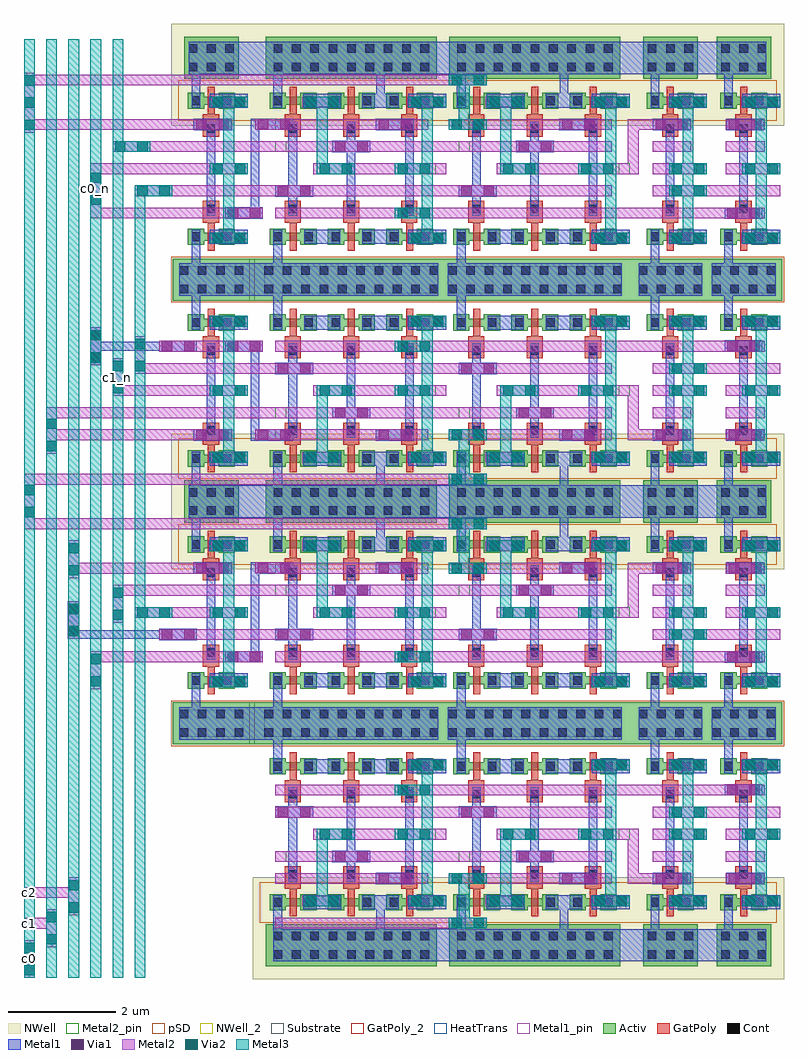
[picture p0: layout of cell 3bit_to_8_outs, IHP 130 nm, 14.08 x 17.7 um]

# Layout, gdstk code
from math import pi, radians
import gdstk
lib = gdstk.Library(unit=1e-6, precision=1e-09)
def R(c, l, rs):  # rectangles x0, y0, x1, y1
    for r in rs: c.add(gdstk.rectangle(r[:2], r[2:], *l))
def A(c, l, x, y, w, h, nx, ny, dx, dy):  # array of equal rectangles
    R(c, l, [(x+i*dx, y+j*dy, x+i*dx+w, y+j*dy+h) for i in range(nx) for j in range(ny)])
Activ = (1, 0)
GatPoly = (5, 0)
GatPoly_2 = (5, 2)
Cont = (6, 0)
Metal1 = (8, 0)
Metal1_pin = (8, 2)
Metal2 = (10, 0)
Metal2_pin = (10, 2)
pSD = (14, 0)
Via1 = (19, 0)
Via2 = (29, 0)
Metal3 = (30, 0)
NWell = (31, 0)
NWell_2 = (31, 2)
Substrate = (40, 0)
HeatTrans = (51, 0)

via_15 = lib.new_cell('Via$15')
R(via_15, Metal2, [(-0.35,-0.1,0.35,0.1)])
R(via_15, Via2, [(-0.3,-0.095,-0.11,0.095), (0.11,-0.095,0.3,0.095)])
R(via_15, Metal3, [(-0.35,-0.1,0.35,0.1)])

via_12 = lib.new_cell('Via$12')
R(via_12, Metal1, [(-0.35,-0.105,0.35,0.105)])
R(via_12, Metal2, [(-0.35,-0.1,0.35,0.1)])
R(via_12, Via1, [(-0.3,-0.095,-0.11,0.095), (0.11,-0.095,0.3,0.095)])

ntap1 = lib.new_cell('ntap1')
R(ntap1, Activ, [(0,0,3.17,0.78)])
A(ntap1, Cont, 0.145, 0.14, 0.16, 0.16, 9, 2, 0.34, 0.34)
R(ntap1, Metal1, [(0.145,0.09,3.025,0.69)])
R(ntap1, Metal1_pin, [(0.145,0.09,3.025,0.69), (0.145,0.14,3.025,0.64)])
R(ntap1, NWell, [(-0.24,-0.24,3.41,1.02), (0,0,3.17,0.78)])
R(ntap1, NWell_2, [(0,0,3.17,0.78)])
ntap1.add(gdstk.Label('well', (1.585,0.01), layer=63, texttype=0))
ntap1.add(gdstk.Label('well', (1.585,0.01), layer=31, texttype=0))

ptap1 = lib.new_cell('ptap1')
R(ptap1, Activ, [(0,0,3.59,0.78)])
A(ptap1, Cont, 0.185, 0.14, 0.16, 0.16, 10, 2, 0.34, 0.34)
R(ptap1, Metal1, [(0.185,0.09,3.405,0.69), (0.185,0.14,3.405,0.64)])
R(ptap1, Metal1_pin, [(0.185,0.14,3.405,0.64)])
R(ptap1, pSD, [(-0.03,-0.03,3.62,0.81)])
R(ptap1, Substrate, [(0,0,3.59,0.78)])
ptap1.add(gdstk.Label('sub!', (1.795,0.01), layer=63, texttype=0))
ptap1.add(gdstk.Label('sub!', (1.795,0.01), layer=40, texttype=0))

nmos = lib.new_cell('nmos')
R(nmos, Activ, [(0,0,0.3,0.3), (0.57,0,0.87,0.3), (0,0.075,0.87,0.225)])
R(nmos, GatPoly, [(0.37,-0.105,0.5,0.405)])
R(nmos, GatPoly_2, [(0.37,-0.105,0.5,0.405)])
R(nmos, Cont, [(0.07,0.07,0.23,0.23), (0.64,0.07,0.8,0.23)])
R(nmos, Metal1, [(0.07,0.02,0.23,0.28), (0.64,0.02,0.8,0.28)])
R(nmos, Metal1_pin, [(0.07,0.02,0.23,0.28), (0.64,0.02,0.8,0.28)])
R(nmos, HeatTrans, [(0.37,-0.105,0.5,0.405)])
nmos.add(gdstk.Label('nmos', (0.435,0.15), layer=63, texttype=0))
nmos.add(gdstk.Label('nmos', (0.435,0.15), layer=51, texttype=0))

pmos = lib.new_cell('pmos')
R(pmos, Activ, [(0,0,0.3,0.3), (0.57,0,0.87,0.3), (0,0.075,0.87,0.225)])
R(pmos, GatPoly, [(0.37,-0.105,0.5,0.405), (0.37,-0.105,0.5,0.405)])
R(pmos, Cont, [(0.07,0.07,0.23,0.23), (0.64,0.07,0.8,0.23)])
R(pmos, Metal1, [(0.07,0.02,0.23,0.28), (0.07,0.02,0.23,0.28), (0.64,0.02,0.8,0.28), (0.64,0.02,0.8,0.28)])
R(pmos, pSD, [(-0.18,-0.225,1.05,0.525)])
R(pmos, NWell, [(-0.31,-0.31,1.18,0.61)])
R(pmos, Substrate, [(0.57,0,0.87,0.3)])
R(pmos, HeatTrans, [(0.37,-0.105,0.5,0.405)])
pmos.add(gdstk.Label('pmos', (0.435,0.15), layer=63, texttype=0))
pmos.add(gdstk.Label('pmos', (0.435,0.15), layer=51, texttype=0))

via = lib.new_cell('Via')
R(via, GatPoly, [(-0.15,-0.15,0.15,0.15)])
R(via, Cont, [(-0.08,-0.08,0.08,0.08)])
R(via, Metal1, [(-0.13,-0.08,0.13,0.08)])

via_2 = lib.new_cell('Via$2')
R(via_2, Metal1, [(-0.105,-0.35,0.105,0.35)])
R(via_2, Metal2, [(-0.1,-0.35,0.1,0.35)])
R(via_2, Via1, [(-0.095,-0.3,0.095,-0.11), (-0.095,0.11,0.095,0.3)])

via_8 = lib.new_cell('Via$8')
R(via_8, Metal2, [(-0.35,-0.1,0.35,0.1)])
R(via_8, Via2, [(-0.3,-0.095,-0.11,0.095), (0.11,-0.095,0.3,0.095)])
R(via_8, Metal3, [(-0.35,-0.1,0.35,0.1)])

via_4 = lib.new_cell('Via$4')
R(via_4, Metal2, [(-0.1,-0.35,0.1,0.35)])
R(via_4, Via2, [(-0.095,-0.3,0.095,-0.11), (-0.095,0.11,0.095,0.3)])
R(via_4, Metal3, [(-0.1,-0.35,0.1,0.35)])

via_6 = lib.new_cell('Via$6')
R(via_6, Metal1, [(-0.35,-0.105,0.35,0.105)])
R(via_6, Metal2, [(-0.35,-0.1,0.35,0.1)])
R(via_6, Via1, [(-0.3,-0.095,-0.11,0.095), (0.11,-0.095,0.3,0.095)])

nand_3in = lib.new_cell('NAND_3in')
A(nand_3in, GatPoly, 9.375, 7.165, 0.3, 0.11, 3, 2, 1.08, 1.9)
R(nand_3in, Metal1, [(9.735,6.78,10.405,7.04), (10.815,6.78,11.485,7.04), (11.665,6.78,12.365,7.04), (9.72,9.3,10.42,9.56), (10.815,9.3,11.485,9.56), (11.665,9.3,12.365,9.56)])
R(nand_3in, Metal1_pin, [(9.16,6.015,9.36,6.215), (9.325,10.12,9.525,10.32)])
R(nand_3in, Metal2_pin, [(9.2,7.66,9.4,7.86), (12.165,8.07,12.365,8.27), (9.2,8.48,9.4,8.68), (9.2,8.89,9.4,9.09)])
nand_3in.add(gdstk.FlexPath([(11.685,7.555),(11.685,8.785)], 0.16, ends="flush", simple_path=True, layer=8, datatype=0))  # Metal1
nand_3in.add(gdstk.FlexPath([(11.15,9.56),(11.15,9.925)], 0.16, ends="flush", simple_path=True, layer=8, datatype=0))  # Metal1
nand_3in.add(gdstk.FlexPath([(9.245,9.56),(9.245,10.525)], 0.16, ends="flush", simple_path=True, layer=8, datatype=0))  # Metal1
nand_3in.add(gdstk.FlexPath([(9.245,6.78),(9.245,6.415)], 0.16, ends="flush", simple_path=True, layer=8, datatype=0))  # Metal1
nand_3in.add(gdstk.FlexPath([(9.525,7.555),(9.525,8.785)], 0.16, ends="flush", simple_path=True, layer=8, datatype=0))  # Metal1
nand_3in.add(gdstk.FlexPath([(10.605,7.555),(10.605,8.785)], 0.16, ends="flush", simple_path=True, layer=8, datatype=0))  # Metal1
nand_3in.add(gdstk.FlexPath([(9.9,8.17),(12.365,8.17)], 0.2, ends="flush", simple_path=True, layer=10, datatype=0))  # Metal2
nand_3in.add(gdstk.FlexPath([(11.81,9.405),(11.645,9.405)], 0.2, ends="flush", simple_path=True, layer=10, datatype=0))  # Metal2
nand_3in.add(gdstk.FlexPath([(11.81,6.885),(11.645,6.885)], 0.2, ends="flush", simple_path=True, layer=10, datatype=0))  # Metal2
nand_3in.add(gdstk.FlexPath([(9.2,7.76),(12.035,7.76)], 0.2, ends="flush", simple_path=True, layer=10, datatype=0))  # Metal2
nand_3in.add(gdstk.FlexPath([(9.2,7.35),(12.035,7.35)], 0.2, ends="flush", simple_path=True, layer=10, datatype=0))  # Metal2
nand_3in.add(gdstk.FlexPath([(9.2,8.99),(12.035,8.99)], 0.2, ends="flush", simple_path=True, layer=10, datatype=0))  # Metal2
nand_3in.add(gdstk.FlexPath([(9.2,8.58),(12.035,8.58)], 0.2, ends="flush", simple_path=True, layer=10, datatype=0))  # Metal2
nand_3in.add(gdstk.FlexPath([(9.865,9.405),(9.7,9.405)], 0.2, ends="flush", simple_path=True, layer=10, datatype=0))  # Metal2
nand_3in.add(gdstk.FlexPath([(10.43,8.58),(10.43,8.58)], 0.2, ends="flush", simple_path=True, layer=10, datatype=0))  # Metal2
nand_3in.add(gdstk.FlexPath([(12.015,6.885),(12.015,8.17)], 0.2, ends="flush", simple_path=True, layer=30, datatype=0))  # Metal3
nand_3in.add(gdstk.FlexPath([(12.015,9.405),(12.015,8.17)], 0.2, ends="flush", simple_path=True, layer=30, datatype=0))  # Metal3
nand_3in.add(gdstk.FlexPath([(10.07,9.305),(10.07,8.07)], 0.2, ends="flush", simple_path=True, layer=30, datatype=0))  # Metal3
nand_3in.add(gdstk.Reference(ntap1, (9.025,9.835)))
nand_3in.add(gdstk.Reference(ptap1, (8.815,5.725)))
nand_3in.add(gdstk.Reference(nmos, (10.175,6.76)))
nand_3in.add(gdstk.Reference(pmos, (10.175,9.28)))
nand_3in.add(gdstk.Reference(nmos, (9.095,6.76)))
nand_3in.add(gdstk.Reference(pmos, (9.095,9.28)))
nand_3in.add(gdstk.Reference(via, (9.525,8.915), rotation=pi/2))
nand_3in.add(gdstk.Reference(via, (10.605,8.915), rotation=pi/2))
nand_3in.add(gdstk.Reference(via, (10.605,7.425), rotation=3*pi/2))
nand_3in.add(gdstk.Reference(via, (9.525,7.425), rotation=3*pi/2))
nand_3in.add(gdstk.Reference(via_2, (10.61,8.58), rotation=3*pi/2))
nand_3in.add(gdstk.Reference(via_8, (10.32,8.17)))
nand_3in.add(gdstk.Reference(via_2, (10.07,9.405), rotation=3*pi/2))
nand_3in.add(gdstk.Reference(via_4, (10.07,9.405), rotation=3*pi/2))
nand_3in.add(gdstk.Reference(via_6, (11.415,8.99)))
nand_3in.add(gdstk.Reference(pmos, (11.255,9.28)))
nand_3in.add(gdstk.Reference(nmos, (11.255,6.76)))
nand_3in.add(gdstk.Reference(via, (11.685,8.915), rotation=pi/2))
nand_3in.add(gdstk.Reference(via, (11.685,7.425), rotation=3*pi/2))
nand_3in.add(gdstk.Reference(via_2, (9.55,7.76), rotation=3*pi/2))
nand_3in.add(gdstk.Reference(via_2, (12.015,9.405), rotation=3*pi/2))
nand_3in.add(gdstk.Reference(via_4, (12.015,9.405), rotation=3*pi/2))
nand_3in.add(gdstk.Reference(via_2, (12.015,6.885), rotation=3*pi/2))
nand_3in.add(gdstk.Reference(via_4, (12.015,6.885), rotation=3*pi/2))
nand_3in.add(gdstk.Reference(via_8, (11.765,8.17)))
nand_3in.add(gdstk.Label('c', (9.315,7.755), layer=10, texttype=25))
nand_3in.add(gdstk.Label('y', (12.265,8.17), layer=10, texttype=25))
nand_3in.add(gdstk.Label('b', (9.315,8.575), layer=10, texttype=25))
nand_3in.add(gdstk.Label('a', (9.3,8.99), layer=10, texttype=25))
nand_3in.add(gdstk.Label('VP', (9.295,10.22), layer=8, texttype=25))
nand_3in.add(gdstk.Label('GND', (9.26,6.115), layer=8, texttype=25))

via_11 = lib.new_cell('Via$11')
R(via_11, Metal2, [(-0.35,-0.1,0.35,0.1)])
R(via_11, Via2, [(-0.3,-0.095,-0.11,0.095), (0.11,-0.095,0.3,0.095)])
R(via_11, Metal3, [(-0.35,-0.1,0.35,0.1)])

via_4_1 = lib.new_cell('Via$4$1')
R(via_4_1, Metal2, [(-0.1,-0.35,0.1,0.35)])
R(via_4_1, Via2, [(-0.095,-0.3,0.095,-0.11), (-0.095,0.11,0.095,0.3)])
R(via_4_1, Metal3, [(-0.1,-0.35,0.1,0.35)])

ntap1_1 = lib.new_cell('ntap1$1')
R(ntap1_1, Activ, [(0,0,1.01,0.78)])
A(ntap1_1, Cont, 0.085, 0.14, 0.16, 0.16, 3, 2, 0.34, 0.34)
R(ntap1_1, Metal1, [(0.085,0.09,0.925,0.69)])
R(ntap1_1, Metal1_pin, [(0.085,0.09,0.925,0.69), (0.085,0.14,0.925,0.64)])
R(ntap1_1, NWell, [(-0.24,-0.24,1.25,1.02), (0,0,1.01,0.78)])
R(ntap1_1, NWell_2, [(0,0,1.01,0.78)])
ntap1_1.add(gdstk.Label('well', (0.505,0.01), layer=63, texttype=0))
ntap1_1.add(gdstk.Label('well', (0.505,0.01), layer=31, texttype=0))

ptap1_1 = lib.new_cell('ptap1$1')
R(ptap1_1, Activ, [(0,0,1.43,0.78)])
A(ptap1_1, Cont, 0.125, 0.14, 0.16, 0.16, 4, 2, 0.34, 0.34)
R(ptap1_1, Metal1, [(0.125,0.09,1.305,0.69), (0.125,0.14,1.305,0.64)])
R(ptap1_1, Metal1_pin, [(0.125,0.14,1.305,0.64)])
R(ptap1_1, pSD, [(-0.03,-0.03,1.46,0.81)])
R(ptap1_1, Substrate, [(0,0,1.43,0.78)])
ptap1_1.add(gdstk.Label('sub!', (0.715,0.01), layer=63, texttype=0))
ptap1_1.add(gdstk.Label('sub!', (0.715,0.01), layer=40, texttype=0))

via_2_1 = lib.new_cell('Via$2$1')
R(via_2_1, Metal1, [(-0.105,-0.35,0.105,0.35)])
R(via_2_1, Metal2, [(-0.1,-0.35,0.1,0.35)])
R(via_2_1, Via1, [(-0.095,-0.3,0.095,-0.11), (-0.095,0.11,0.095,0.3)])

nmos_1 = lib.new_cell('nmos$1')
R(nmos_1, Activ, [(0,0,0.3,0.3), (0.57,0,0.87,0.3), (0,0.075,0.87,0.225)])
R(nmos_1, GatPoly, [(0.37,-0.105,0.5,0.405)])
R(nmos_1, GatPoly_2, [(0.37,-0.105,0.5,0.405)])
R(nmos_1, Cont, [(0.07,0.07,0.23,0.23), (0.64,0.07,0.8,0.23)])
R(nmos_1, Metal1, [(0.07,0.02,0.23,0.28), (0.64,0.02,0.8,0.28)])
R(nmos_1, Metal1_pin, [(0.07,0.02,0.23,0.28), (0.64,0.02,0.8,0.28)])
R(nmos_1, HeatTrans, [(0.37,-0.105,0.5,0.405)])
nmos_1.add(gdstk.Label('nmos', (0.435,0.15), layer=63, texttype=0))
nmos_1.add(gdstk.Label('nmos', (0.435,0.15), layer=51, texttype=0))

pmos_1 = lib.new_cell('pmos$1')
R(pmos_1, Activ, [(0,0,0.3,0.3), (0.57,0,0.87,0.3), (0,0.075,0.87,0.225)])
R(pmos_1, GatPoly, [(0.37,-0.105,0.5,0.405), (0.37,-0.105,0.5,0.405)])
R(pmos_1, Cont, [(0.07,0.07,0.23,0.23), (0.64,0.07,0.8,0.23)])
R(pmos_1, Metal1, [(0.07,0.02,0.23,0.28), (0.07,0.02,0.23,0.28), (0.64,0.02,0.8,0.28), (0.64,0.02,0.8,0.28)])
R(pmos_1, pSD, [(-0.18,-0.225,1.05,0.525)])
R(pmos_1, NWell, [(-0.31,-0.31,1.18,0.61)])
R(pmos_1, Substrate, [(0.57,0,0.87,0.3)])
R(pmos_1, HeatTrans, [(0.37,-0.105,0.5,0.405)])
pmos_1.add(gdstk.Label('pmos', (0.435,0.15), layer=63, texttype=0))
pmos_1.add(gdstk.Label('pmos', (0.435,0.15), layer=51, texttype=0))

via_9 = lib.new_cell('Via$9')
R(via_9, GatPoly, [(-0.15,-0.15,0.15,0.15)])
R(via_9, Cont, [(-0.08,-0.08,0.08,0.08)])
R(via_9, Metal1, [(-0.13,-0.08,0.13,0.08)])

via_7 = lib.new_cell('Via$7')
R(via_7, Metal2, [(-0.35,-0.1,0.35,0.1)])
R(via_7, Via2, [(-0.3,-0.095,-0.11,0.095), (0.11,-0.095,0.3,0.095)])
R(via_7, Metal3, [(-0.35,-0.1,0.35,0.1)])

inverter = lib.new_cell('inverter')
R(inverter, GatPoly, [(9.375,7.165,9.675,7.275), (9.375,9.065,9.675,9.175)])
R(inverter, Metal1, [(9.505,6.78,10.205,7.04), (9.505,9.3,10.205,9.56)])
R(inverter, Metal1_pin, [(9.16,6.015,9.36,6.215), (9.325,10.12,9.525,10.32)])
R(inverter, Metal2_pin, [(10.005,8.07,10.205,8.27), (9.2,8.89,9.4,9.09)])
inverter.add(gdstk.FlexPath([(9.245,9.56),(9.245,10.525)], 0.16, ends="flush", simple_path=True, layer=8, datatype=0))  # Metal1
inverter.add(gdstk.FlexPath([(9.245,6.78),(9.245,6.415)], 0.16, ends="flush", simple_path=True, layer=8, datatype=0))  # Metal1
inverter.add(gdstk.FlexPath([(9.525,7.555),(9.525,8.785)], 0.16, ends="flush", simple_path=True, layer=8, datatype=0))  # Metal1
inverter.add(gdstk.FlexPath([(9.65,9.405),(9.485,9.405)], 0.2, ends="flush", simple_path=True, layer=10, datatype=0))  # Metal2
inverter.add(gdstk.FlexPath([(9.65,6.885),(9.485,6.885)], 0.2, ends="flush", simple_path=True, layer=10, datatype=0))  # Metal2
inverter.add(gdstk.FlexPath([(9.2,8.99),(9.92,8.99)], 0.2, ends="flush", simple_path=True, layer=10, datatype=0))  # Metal2
inverter.add(gdstk.FlexPath([(9.2,8.58),(9.92,8.58)], 0.2, ends="flush", simple_path=True, layer=10, datatype=0))  # Metal2
inverter.add(gdstk.FlexPath([(9.2,7.76),(9.92,7.76)], 0.2, ends="flush", simple_path=True, layer=10, datatype=0))  # Metal2
inverter.add(gdstk.FlexPath([(9.2,7.35),(9.92,7.35)], 0.2, ends="flush", simple_path=True, layer=10, datatype=0))  # Metal2
inverter.add(gdstk.FlexPath([(9.2,8.17),(10.205,8.17)], 0.2, ends="flush", simple_path=True, layer=10, datatype=0))  # Metal2
inverter.add(gdstk.FlexPath([(9.855,6.885),(9.855,8.17)], 0.2, ends="flush", simple_path=True, layer=30, datatype=0))  # Metal3
inverter.add(gdstk.FlexPath([(9.855,9.405),(9.855,8.17)], 0.2, ends="flush", simple_path=True, layer=30, datatype=0))  # Metal3
inverter.add(gdstk.Reference(via_4_1, (9.855,6.885), rotation=3*pi/2))
inverter.add(gdstk.Reference(ntap1_1, (9.025,9.835)))
inverter.add(gdstk.Reference(ptap1_1, (8.815,5.725)))
inverter.add(gdstk.Reference(via_2_1, (9.855,6.885), rotation=3*pi/2))
inverter.add(gdstk.Reference(nmos_1, (9.095,6.76)))
inverter.add(gdstk.Reference(pmos_1, (9.095,9.28)))
inverter.add(gdstk.Reference(via_9, (9.525,8.915), rotation=pi/2))
inverter.add(gdstk.Reference(via_9, (9.525,7.425), rotation=3*pi/2))
inverter.add(gdstk.Reference(via_4_1, (9.855,9.405), rotation=3*pi/2))
inverter.add(gdstk.Reference(via_2_1, (9.555,8.99), rotation=3*pi/2))
inverter.add(gdstk.Reference(via_2_1, (9.855,9.405), rotation=3*pi/2))
inverter.add(gdstk.Reference(via_7, (9.855,8.17)))
inverter.add(gdstk.Label('out', (10.105,8.17), layer=10, texttype=25))
inverter.add(gdstk.Label('in', (9.3,8.99), layer=10, texttype=25))
inverter.add(gdstk.Label('VP', (9.295,10.22), layer=8, texttype=25))
inverter.add(gdstk.Label('GND', (9.26,6.115), layer=8, texttype=25))

via_17 = lib.new_cell('Via$17')
R(via_17, Metal2, [(-0.35,-0.1,0.35,0.1)])
R(via_17, Via2, [(-0.3,-0.095,-0.11,0.095), (0.11,-0.095,0.3,0.095)])
R(via_17, Metal3, [(-0.35,-0.1,0.35,0.1)])

via_16 = lib.new_cell('Via$16')
R(via_16, Metal2, [(-0.35,-0.1,0.35,0.1)])
R(via_16, Via2, [(-0.3,-0.095,-0.11,0.095), (0.11,-0.095,0.3,0.095)])
R(via_16, Metal3, [(-0.35,-0.1,0.35,0.1)])

via_19 = lib.new_cell('Via$19')
R(via_19, Metal2, [(-0.555,-0.1,0.555,0.1)])
A(via_19, Via2, -0.505, -0.095, 0.19, 0.19, 3, 1, 0.41, 0)
R(via_19, Metal3, [(-0.555,-0.1,0.555,0.1)])

via_18 = lib.new_cell('Via$18')
R(via_18, Metal2, [(-0.35,-0.1,0.35,0.1)])
R(via_18, Via2, [(-0.3,-0.095,-0.11,0.095), (0.11,-0.095,0.3,0.095)])
R(via_18, Metal3, [(-0.35,-0.1,0.35,0.1)])

via_20 = lib.new_cell('Via$20')
R(via_20, Metal1, [(-0.35,-0.105,0.35,0.105)])
R(via_20, Metal2, [(-0.35,-0.1,0.35,0.1)])
R(via_20, Via1, [(-0.3,-0.095,-0.11,0.095), (0.11,-0.095,0.3,0.095)])

via_21 = lib.new_cell('Via$21')
R(via_21, Metal2, [(-0.35,-0.1,0.35,0.1)])
R(via_21, Via2, [(-0.3,-0.095,-0.11,0.095), (0.11,-0.095,0.3,0.095)])
R(via_21, Metal3, [(-0.35,-0.1,0.35,0.1)])

c_3bit_to_8_outs = lib.new_cell('3bit_to_8_outs')
R(c_3bit_to_8_outs, Activ, [(9.085,14.125,9.19,14.905), (9.06,22.345,9.235,23.125)])
R(c_3bit_to_8_outs, Metal1, [(12.405,10.105,12.925,10.71), (15.805,10.105,17.815,10.705), (8.95,14.215,9.48,14.815), (12.405,18.32,12.925,18.925), (8.79,18.325,9.835,18.925), (12.405,18.325,12.925,18.93), (15.805,18.325,17.815,18.925), (15.805,18.325,17.815,18.925), (8.96,22.435,9.455,23.035), (8.755,26.535,9.72,27.145), (12.405,26.54,12.925,27.145), (15.805,26.545,17.815,27.145)])
R(c_3bit_to_8_outs, Metal2_pin, [(4.9,10.065,5.1,10.265), (4.9,10.71,5.1,10.91), (4.9,11.28,5.1,11.48)])
R(c_3bit_to_8_outs, pSD, [(12.66,10.825,12.67,11.575), (16.06,10.825,16.29,11.575), (17.48,10.825,17.71,11.575), (9.115,14.095,9.2,14.935), (8.985,17.455,9.31,18.205), (12.66,17.455,12.67,18.205), (16.06,17.455,16.29,18.205), (17.48,17.455,17.71,18.205), (8.95,19.045,9.315,19.795), (12.66,19.045,12.67,19.795), (16.06,19.045,16.29,19.795), (17.48,19.045,17.71,19.795), (9.045,22.315,9.255,23.155), (8.955,25.675,9.305,26.425), (12.66,25.675,12.67,26.425), (16.06,25.675,16.29,26.425), (17.48,25.675,17.71,26.425)])
R(c_3bit_to_8_outs, NWell, [(9.015,17.37,9.23,19.88), (9.015,25.59,9.465,27.475)])
c_3bit_to_8_outs.add(gdstk.FlexPath([(9.18,23.97),(9.18,25.72)], 0.16, ends="flush", simple_path=True, layer=8, datatype=0))  # Metal1
c_3bit_to_8_outs.add(gdstk.FlexPath([(9.18,23.97),(9.18,25.72)], 0.16, ends="flush", simple_path=True, layer=8, datatype=0))  # Metal1
c_3bit_to_8_outs.add(gdstk.FlexPath([(9.18,21.5),(9.18,19.755)], 0.16, ends="flush", simple_path=True, layer=8, datatype=0))  # Metal1
c_3bit_to_8_outs.add(gdstk.FlexPath([(9.18,15.75),(9.18,17.5)], 0.16, ends="flush", simple_path=True, layer=8, datatype=0))  # Metal1
c_3bit_to_8_outs.add(gdstk.FlexPath([(9.18,15.75),(9.18,17.5)], 0.16, ends="flush", simple_path=True, layer=8, datatype=0))  # Metal1
c_3bit_to_8_outs.add(gdstk.FlexPath([(7.55,21.5),(6.23,21.5)], 0.16, ends="flush", simple_path=True, layer=8, datatype=0))  # Metal1
c_3bit_to_8_outs.add(gdstk.FlexPath([(7.55,16.16),(5.82,16.16)], 0.16, ends="flush", simple_path=True, layer=8, datatype=0))  # Metal1
c_3bit_to_8_outs.add(gdstk.FlexPath([(12.915,19.035),(9.555,19.035)], 0.2, ends="flush", simple_path=True, layer=10, datatype=0))  # Metal2
c_3bit_to_8_outs.add(gdstk.FlexPath([(12.915,26.435),(9.555,26.435)], 0.2, ends="flush", simple_path=True, layer=10, datatype=0))  # Metal2
c_3bit_to_8_outs.add(gdstk.FlexPath([(12.915,10.815),(9.555,10.815)], 0.2, ends="flush", simple_path=True, layer=10, datatype=0))  # Metal2
c_3bit_to_8_outs.add(gdstk.FlexPath([(12.915,18.215),(9.555,18.215)], 0.2, ends="flush", simple_path=True, layer=10, datatype=0))  # Metal2
c_3bit_to_8_outs.add(gdstk.FlexPath([(5,18.115),(5,19.135)], 0.2, ends="flush", simple_path=True, layer=10, datatype=0))  # Metal2
c_3bit_to_8_outs.add(gdstk.FlexPath([(18.23,23.965),(18.23,23.965)], 0.2, ends="flush", simple_path=True, layer=10, datatype=0))  # Metal2
c_3bit_to_8_outs.add(gdstk.FlexPath([(17.2,24.38),(17.2,24.38)], 0.2, ends="flush", simple_path=True, layer=10, datatype=0))  # Metal2
c_3bit_to_8_outs.add(gdstk.FlexPath([(18.625,21.09),(18.91,21.09)], 0.2, ends="flush", simple_path=True, layer=10, datatype=0))  # Metal2
c_3bit_to_8_outs.add(gdstk.FlexPath([(17.265,21.09),(17.905,21.09)], 0.2, ends="flush", simple_path=True, layer=10, datatype=0))  # Metal2
c_3bit_to_8_outs.add(gdstk.FlexPath([(16.02,20.68),(16.185,20.68),(16.185,19.86),(16.645,19.86)], 0.2, ends="flush", simple_path=True, layer=10, datatype=0))  # Metal2
c_3bit_to_8_outs.add(gdstk.FlexPath([(16.545,21.5),(15.79,21.5)], 0.2, ends="flush", simple_path=True, layer=10, datatype=0))  # Metal2
c_3bit_to_8_outs.add(gdstk.FlexPath([(17.265,21.5),(17.905,21.5)], 0.2, ends="flush", simple_path=True, layer=10, datatype=0))  # Metal2
c_3bit_to_8_outs.add(gdstk.FlexPath([(18.23,21.505),(18.23,21.505)], 0.2, ends="flush", simple_path=True, layer=10, datatype=0))  # Metal2
c_3bit_to_8_outs.add(gdstk.FlexPath([(17.2,21.09),(17.2,21.09)], 0.2, ends="flush", simple_path=True, layer=10, datatype=0))  # Metal2
c_3bit_to_8_outs.add(gdstk.FlexPath([(12.39,21.09),(13.005,21.09)], 0.2, ends="flush", simple_path=True, layer=10, datatype=0))  # Metal2
c_3bit_to_8_outs.add(gdstk.FlexPath([(12.39,20.27),(13.005,20.27)], 0.2, ends="flush", simple_path=True, layer=10, datatype=0))  # Metal2
c_3bit_to_8_outs.add(gdstk.FlexPath([(12.3,21.5),(12.3,21.5)], 0.2, ends="flush", simple_path=True, layer=10, datatype=0))  # Metal2
c_3bit_to_8_outs.add(gdstk.FlexPath([(12.47,21.5),(12.955,21.5)], 0.2, ends="flush", simple_path=True, layer=10, datatype=0))  # Metal2
c_3bit_to_8_outs.add(gdstk.FlexPath([(13.12,19.86),(13.12,19.86)], 0.2, ends="flush", simple_path=True, layer=10, datatype=0))  # Metal2
c_3bit_to_8_outs.add(gdstk.FlexPath([(13.12,19.035),(13.12,19.035)], 0.2, ends="flush", simple_path=True, layer=10, datatype=0))  # Metal2
c_3bit_to_8_outs.add(gdstk.FlexPath([(18.625,24.38),(18.91,24.38)], 0.2, ends="flush", simple_path=True, layer=10, datatype=0))  # Metal2
c_3bit_to_8_outs.add(gdstk.FlexPath([(12.39,24.38),(13.005,24.38)], 0.2, ends="flush", simple_path=True, layer=10, datatype=0))  # Metal2
c_3bit_to_8_outs.add(gdstk.FlexPath([(12.39,25.2),(13.005,25.2)], 0.2, ends="flush", simple_path=True, layer=10, datatype=0))  # Metal2
c_3bit_to_8_outs.add(gdstk.FlexPath([(12.3,23.97),(12.3,23.97)], 0.2, ends="flush", simple_path=True, layer=10, datatype=0))  # Metal2
c_3bit_to_8_outs.add(gdstk.FlexPath([(12.47,23.97),(12.955,23.97)], 0.2, ends="flush", simple_path=True, layer=10, datatype=0))  # Metal2
c_3bit_to_8_outs.add(gdstk.FlexPath([(13.12,25.61),(13.12,25.61)], 0.2, ends="flush", simple_path=True, layer=10, datatype=0))  # Metal2
c_3bit_to_8_outs.add(gdstk.FlexPath([(13.12,26.435),(13.12,26.435)], 0.2, ends="flush", simple_path=True, layer=10, datatype=0))  # Metal2
c_3bit_to_8_outs.add(gdstk.FlexPath([(17.265,24.38),(17.905,24.38)], 0.2, ends="flush", simple_path=True, layer=10, datatype=0))  # Metal2
c_3bit_to_8_outs.add(gdstk.FlexPath([(16.02,24.79),(16.185,24.79),(16.185,25.61),(16.645,25.61)], 0.2, ends="flush", simple_path=True, layer=10, datatype=0))  # Metal2
c_3bit_to_8_outs.add(gdstk.FlexPath([(16.545,23.97),(15.79,23.97)], 0.2, ends="flush", simple_path=True, layer=10, datatype=0))  # Metal2
c_3bit_to_8_outs.add(gdstk.FlexPath([(17.265,23.97),(17.905,23.97)], 0.2, ends="flush", simple_path=True, layer=10, datatype=0))  # Metal2
c_3bit_to_8_outs.add(gdstk.FlexPath([(9.34,19.035),(8.04,19.035)], 0.2, ends="flush", simple_path=True, layer=10, datatype=0))  # Metal2
c_3bit_to_8_outs.add(gdstk.FlexPath([(9.555,26.435),(9.34,26.435)], 0.2, ends="flush", simple_path=True, layer=10, datatype=0))  # Metal2
c_3bit_to_8_outs.add(gdstk.FlexPath([(9.555,19.035),(9.34,19.035)], 0.2, ends="flush", simple_path=True, layer=10, datatype=0))  # Metal2
c_3bit_to_8_outs.add(gdstk.FlexPath([(8.14,25.61),(5.28,25.61)], 0.2, ends="flush", simple_path=True, layer=10, datatype=0))  # Metal2
c_3bit_to_8_outs.add(gdstk.FlexPath([(8.04,24.79),(6.61,24.79)], 0.2, ends="flush", simple_path=True, layer=10, datatype=0))  # Metal2
c_3bit_to_8_outs.add(gdstk.FlexPath([(8.76,25.2),(9.555,25.2)], 0.2, ends="flush", simple_path=True, layer=10, datatype=0))  # Metal2
c_3bit_to_8_outs.add(gdstk.FlexPath([(9.555,24.38),(8.76,24.38)], 0.2, ends="flush", simple_path=True, layer=10, datatype=0))  # Metal2
c_3bit_to_8_outs.add(gdstk.FlexPath([(8.045,19.86),(5.79,19.86)], 0.2, ends="flush", simple_path=True, layer=10, datatype=0))  # Metal2
c_3bit_to_8_outs.add(gdstk.FlexPath([(9.555,20.27),(8.76,20.27)], 0.2, ends="flush", simple_path=True, layer=10, datatype=0))  # Metal2
c_3bit_to_8_outs.add(gdstk.FlexPath([(9.555,21.09),(8.76,21.09)], 0.2, ends="flush", simple_path=True, layer=10, datatype=0))  # Metal2
c_3bit_to_8_outs.add(gdstk.FlexPath([(8.04,20.68),(7.02,20.68)], 0.2, ends="flush", simple_path=True, layer=10, datatype=0))  # Metal2
c_3bit_to_8_outs.add(gdstk.FlexPath([(8.04,25.2),(7.02,25.2)], 0.2, ends="flush", simple_path=True, layer=10, datatype=0))  # Metal2
c_3bit_to_8_outs.add(gdstk.FlexPath([(7.66,24.38),(7.045,24.38)], 0.2, ends="flush", simple_path=True, layer=10, datatype=0))  # Metal2
c_3bit_to_8_outs.add(gdstk.FlexPath([(8.04,26.435),(5.28,26.435)], 0.2, ends="flush", simple_path=True, layer=10, datatype=0))  # Metal2
c_3bit_to_8_outs.add(gdstk.FlexPath([(8.04,23.97),(6.51,23.97)], 0.2, ends="flush", simple_path=True, layer=10, datatype=0))  # Metal2
c_3bit_to_8_outs.add(gdstk.FlexPath([(6.23,24.79),(6.13,24.79)], 0.2, ends="flush", simple_path=True, layer=10, datatype=0))  # Metal2
c_3bit_to_8_outs.add(gdstk.FlexPath([(5.28,25.61),(4.905,25.61)], 0.2, ends="flush", simple_path=True, layer=10, datatype=0))  # Metal2
c_3bit_to_8_outs.add(gdstk.FlexPath([(5.28,26.435),(4.905,26.435)], 0.2, ends="flush", simple_path=True, layer=10, datatype=0))  # Metal2
c_3bit_to_8_outs.add(gdstk.FlexPath([(6.61,24.79),(6.13,24.79)], 0.2, ends="flush", simple_path=True, layer=10, datatype=0))  # Metal2
c_3bit_to_8_outs.add(gdstk.FlexPath([(8.07,24.38),(7.505,24.38)], 0.2, ends="flush", simple_path=True, layer=10, datatype=0))  # Metal2
c_3bit_to_8_outs.add(gdstk.FlexPath([(6.51,23.97),(6.13,23.97)], 0.2, ends="flush", simple_path=True, layer=10, datatype=0))  # Metal2
c_3bit_to_8_outs.add(gdstk.FlexPath([(7.02,20.68),(6.54,20.68)], 0.2, ends="flush", simple_path=True, layer=10, datatype=0))  # Metal2
c_3bit_to_8_outs.add(gdstk.FlexPath([(5.79,19.86),(5.31,19.86)], 0.2, ends="flush", simple_path=True, layer=10, datatype=0))  # Metal2
c_3bit_to_8_outs.add(gdstk.FlexPath([(8.04,20.27),(5.31,20.27)], 0.2, ends="flush", simple_path=True, layer=10, datatype=0))  # Metal2
c_3bit_to_8_outs.add(gdstk.FlexPath([(8.04,21.09),(7.05,21.09)], 0.2, ends="flush", simple_path=True, layer=10, datatype=0))  # Metal2
c_3bit_to_8_outs.add(gdstk.FlexPath([(8.075,21.5),(7.755,21.5)], 0.2, ends="flush", simple_path=True, layer=10, datatype=0))  # Metal2
c_3bit_to_8_outs.add(gdstk.FlexPath([(6.23,21.5),(6.23,21.5)], 0.2, ends="flush", simple_path=True, layer=10, datatype=0))  # Metal2
c_3bit_to_8_outs.add(gdstk.FlexPath([(8.04,19.035),(5,19.035)], 0.2, ends="flush", simple_path=True, layer=10, datatype=0))  # Metal2
c_3bit_to_8_outs.add(gdstk.FlexPath([(9.34,26.435),(8.04,26.435)], 0.2, ends="flush", simple_path=True, layer=10, datatype=0))  # Metal2
c_3bit_to_8_outs.add(gdstk.FlexPath([(9.34,18.215),(8.04,18.215)], 0.2, ends="flush", simple_path=True, layer=10, datatype=0))  # Metal2
c_3bit_to_8_outs.add(gdstk.FlexPath([(6.2,17.39),(5.72,17.39)], 0.2, ends="flush", simple_path=True, layer=10, datatype=0))  # Metal2
c_3bit_to_8_outs.add(gdstk.FlexPath([(9.555,18.215),(9.34,18.215)], 0.2, ends="flush", simple_path=True, layer=10, datatype=0))  # Metal2
c_3bit_to_8_outs.add(gdstk.FlexPath([(8.19,17.39),(6.2,17.39)], 0.2, ends="flush", simple_path=True, layer=10, datatype=0))  # Metal2
c_3bit_to_8_outs.add(gdstk.FlexPath([(8.04,16.57),(7.43,16.57)], 0.2, ends="flush", simple_path=True, layer=10, datatype=0))  # Metal2
c_3bit_to_8_outs.add(gdstk.FlexPath([(5.41,10.81),(4.9,10.81)], 0.2, ends="flush", simple_path=True, layer=10, datatype=0))  # Metal2
c_3bit_to_8_outs.add(gdstk.FlexPath([(5.41,11.38),(4.9,11.38)], 0.2, ends="flush", simple_path=True, layer=10, datatype=0))  # Metal2
c_3bit_to_8_outs.add(gdstk.FlexPath([(9.555,16.98),(8.76,16.98)], 0.2, ends="flush", simple_path=True, layer=10, datatype=0))  # Metal2
c_3bit_to_8_outs.add(gdstk.FlexPath([(9.555,16.16),(8.76,16.16)], 0.2, ends="flush", simple_path=True, layer=10, datatype=0))  # Metal2
c_3bit_to_8_outs.add(gdstk.FlexPath([(8.04,18.215),(6.23,18.215)], 0.2, ends="flush", simple_path=True, layer=10, datatype=0))  # Metal2
c_3bit_to_8_outs.add(gdstk.FlexPath([(7.43,16.57),(6.95,16.57)], 0.2, ends="flush", simple_path=True, layer=10, datatype=0))  # Metal2
c_3bit_to_8_outs.add(gdstk.FlexPath([(8.04,16.98),(6.64,16.98)], 0.2, ends="flush", simple_path=True, layer=10, datatype=0))  # Metal2
c_3bit_to_8_outs.add(gdstk.FlexPath([(8.075,16.16),(7.755,16.16)], 0.2, ends="flush", simple_path=True, layer=10, datatype=0))  # Metal2
c_3bit_to_8_outs.add(gdstk.FlexPath([(8.04,15.75),(6.13,15.75)], 0.2, ends="flush", simple_path=True, layer=10, datatype=0))  # Metal2
c_3bit_to_8_outs.add(gdstk.FlexPath([(6.23,18.215),(5,18.215)], 0.2, ends="flush", simple_path=True, layer=10, datatype=0))  # Metal2
c_3bit_to_8_outs.add(gdstk.FlexPath([(5.41,11.38),(5.82,11.38)], 0.2, ends="flush", simple_path=True, layer=10, datatype=0))  # Metal2
c_3bit_to_8_outs.add(gdstk.FlexPath([(12.39,16.98),(13.005,16.98)], 0.2, ends="flush", simple_path=True, layer=10, datatype=0))  # Metal2
c_3bit_to_8_outs.add(gdstk.FlexPath([(12.3,15.75),(12.3,15.75)], 0.2, ends="flush", simple_path=True, layer=10, datatype=0))  # Metal2
c_3bit_to_8_outs.add(gdstk.FlexPath([(12.47,15.75),(12.955,15.75)], 0.2, ends="flush", simple_path=True, layer=10, datatype=0))  # Metal2
c_3bit_to_8_outs.add(gdstk.FlexPath([(13.12,17.39),(13.12,17.39)], 0.2, ends="flush", simple_path=True, layer=10, datatype=0))  # Metal2
c_3bit_to_8_outs.add(gdstk.FlexPath([(13.12,18.215),(13.12,18.215)], 0.2, ends="flush", simple_path=True, layer=10, datatype=0))  # Metal2
c_3bit_to_8_outs.add(gdstk.FlexPath([(17.265,12.87),(17.905,12.87)], 0.2, ends="flush", simple_path=True, layer=10, datatype=0))  # Metal2
c_3bit_to_8_outs.add(gdstk.FlexPath([(16.02,12.46),(16.185,12.46),(16.185,11.64),(16.645,11.64)], 0.2, ends="flush", simple_path=True, layer=10, datatype=0))  # Metal2
c_3bit_to_8_outs.add(gdstk.FlexPath([(16.545,13.28),(15.79,13.28)], 0.2, ends="flush", simple_path=True, layer=10, datatype=0))  # Metal2
c_3bit_to_8_outs.add(gdstk.FlexPath([(17.265,13.28),(17.905,13.28)], 0.2, ends="flush", simple_path=True, layer=10, datatype=0))  # Metal2
c_3bit_to_8_outs.add(gdstk.FlexPath([(18.23,13.285),(18.23,13.285)], 0.2, ends="flush", simple_path=True, layer=10, datatype=0))  # Metal2
c_3bit_to_8_outs.add(gdstk.FlexPath([(17.2,12.87),(17.2,12.87)], 0.2, ends="flush", simple_path=True, layer=10, datatype=0))  # Metal2
c_3bit_to_8_outs.add(gdstk.FlexPath([(12.39,12.87),(13.005,12.87)], 0.2, ends="flush", simple_path=True, layer=10, datatype=0))  # Metal2
c_3bit_to_8_outs.add(gdstk.FlexPath([(18.625,16.16),(18.91,16.16)], 0.2, ends="flush", simple_path=True, layer=10, datatype=0))  # Metal2
c_3bit_to_8_outs.add(gdstk.FlexPath([(17.265,16.16),(17.905,16.16)], 0.2, ends="flush", simple_path=True, layer=10, datatype=0))  # Metal2
c_3bit_to_8_outs.add(gdstk.FlexPath([(16.02,16.57),(16.185,16.57),(16.185,17.39),(16.645,17.39)], 0.2, ends="flush", simple_path=True, layer=10, datatype=0))  # Metal2
c_3bit_to_8_outs.add(gdstk.FlexPath([(16.545,15.75),(15.79,15.75)], 0.2, ends="flush", simple_path=True, layer=10, datatype=0))  # Metal2
c_3bit_to_8_outs.add(gdstk.FlexPath([(17.265,15.75),(17.905,15.75)], 0.2, ends="flush", simple_path=True, layer=10, datatype=0))  # Metal2
c_3bit_to_8_outs.add(gdstk.FlexPath([(18.23,15.745),(18.23,15.745)], 0.2, ends="flush", simple_path=True, layer=10, datatype=0))  # Metal2
c_3bit_to_8_outs.add(gdstk.FlexPath([(17.2,16.16),(17.2,16.16)], 0.2, ends="flush", simple_path=True, layer=10, datatype=0))  # Metal2
c_3bit_to_8_outs.add(gdstk.FlexPath([(12.39,12.05),(13.005,12.05)], 0.2, ends="flush", simple_path=True, layer=10, datatype=0))  # Metal2
c_3bit_to_8_outs.add(gdstk.FlexPath([(12.3,13.28),(12.3,13.28)], 0.2, ends="flush", simple_path=True, layer=10, datatype=0))  # Metal2
c_3bit_to_8_outs.add(gdstk.FlexPath([(12.47,13.28),(12.955,13.28)], 0.2, ends="flush", simple_path=True, layer=10, datatype=0))  # Metal2
c_3bit_to_8_outs.add(gdstk.FlexPath([(13.12,11.64),(13.12,11.64)], 0.2, ends="flush", simple_path=True, layer=10, datatype=0))  # Metal2
c_3bit_to_8_outs.add(gdstk.FlexPath([(13.12,10.815),(13.12,10.815)], 0.2, ends="flush", simple_path=True, layer=10, datatype=0))  # Metal2
c_3bit_to_8_outs.add(gdstk.FlexPath([(18.625,12.87),(18.91,12.87)], 0.2, ends="flush", simple_path=True, layer=10, datatype=0))  # Metal2
c_3bit_to_8_outs.add(gdstk.FlexPath([(12.39,16.16),(13.005,16.16)], 0.2, ends="flush", simple_path=True, layer=10, datatype=0))  # Metal2
c_3bit_to_8_outs.add(gdstk.FlexPath([(13.055,25.61),(13.055,26.535)], 0.2, ends="flush", simple_path=True, layer=30, datatype=0))  # Metal3
c_3bit_to_8_outs.add(gdstk.FlexPath([(13.055,19.86),(13.055,18.935)], 0.2, ends="flush", simple_path=True, layer=30, datatype=0))  # Metal3
c_3bit_to_8_outs.add(gdstk.FlexPath([(13.055,17.39),(13.055,18.315)], 0.2, ends="flush", simple_path=True, layer=30, datatype=0))  # Metal3
c_3bit_to_8_outs.add(gdstk.FlexPath([(13.055,11.64),(13.055,10.715)], 0.2, ends="flush", simple_path=True, layer=30, datatype=0))  # Metal3
c_3bit_to_8_outs.add(gdstk.FlexPath([(7.05,24.185),(7.05,9.8)], 0.2, ends="flush", simple_path=True, layer=30, datatype=0))  # Metal3
c_3bit_to_8_outs.add(gdstk.FlexPath([(6.64,27.185),(6.64,9.8)], 0.2, ends="flush", simple_path=True, layer=30, datatype=0))  # Metal3
c_3bit_to_8_outs.add(gdstk.FlexPath([(6.23,27.185),(6.23,9.8)], 0.2, ends="flush", simple_path=True, layer=30, datatype=0))  # Metal3
c_3bit_to_8_outs.add(gdstk.FlexPath([(5.82,27.185),(5.82,9.8)], 0.2, ends="flush", simple_path=True, layer=30, datatype=0))  # Metal3
c_3bit_to_8_outs.add(gdstk.FlexPath([(5.41,27.185),(5.41,9.8)], 0.2, ends="flush", simple_path=True, layer=30, datatype=0))  # Metal3
c_3bit_to_8_outs.add(gdstk.FlexPath([(5,27.185),(5,9.8)], 0.2, ends="flush", simple_path=True, layer=30, datatype=0))  # Metal3
c_3bit_to_8_outs.add(gdstk.FlexPath([(5,10.15),(5,10.15)], 0.2, ends="flush", simple_path=True, layer=30, datatype=0))  # Metal3
c_3bit_to_8_outs.add(gdstk.FlexPath([(5.41,10.72),(5.41,10.72)], 0.2, ends="flush", simple_path=True, layer=30, datatype=0))  # Metal3
c_3bit_to_8_outs.add(gdstk.FlexPath([(5.82,11.31),(5.82,11.31)], 0.2, ends="flush", simple_path=True, layer=30, datatype=0))  # Metal3
c_3bit_to_8_outs.add(gdstk.FlexPath([(5,26.015),(5,26.015)], 0.2, ends="flush", simple_path=True, layer=30, datatype=0))  # Metal3
c_3bit_to_8_outs.add(gdstk.FlexPath([(7.05,24.185),(7.05,24.48)], 0.2, ends="flush", simple_path=True, layer=30, datatype=0))  # Metal3
c_3bit_to_8_outs.add(gdstk.Reference(via_15, (17.2,24.38)))
c_3bit_to_8_outs.add(gdstk.Reference(via_15, (17.2,21.09), x_reflection=True))
c_3bit_to_8_outs.add(gdstk.Reference(via_12, (18.23,21.505), x_reflection=True))
c_3bit_to_8_outs.add(gdstk.Reference(nand_3in, (0.355,28.85), x_reflection=True))
c_3bit_to_8_outs.add(gdstk.Reference(via_11, (12.12,21.5), x_reflection=True))
c_3bit_to_8_outs.add(gdstk.Reference(inverter, (8.705,28.85), x_reflection=True))
c_3bit_to_8_outs.add(gdstk.Reference(inverter, (7.345,28.85), x_reflection=True))
c_3bit_to_8_outs.add(gdstk.Reference(nand_3in, (3.755,28.85), x_reflection=True))
c_3bit_to_8_outs.add(gdstk.Reference(via_15, (13.12,19.86), x_reflection=True))
c_3bit_to_8_outs.add(gdstk.Reference(via_15, (13.12,19.035), x_reflection=True))
c_3bit_to_8_outs.add(gdstk.Reference(via_15, (17.2,16.16)))
c_3bit_to_8_outs.add(gdstk.Reference(via_15, (17.2,12.87), x_reflection=True))
c_3bit_to_8_outs.add(gdstk.Reference(via_12, (18.23,13.285), x_reflection=True))
c_3bit_to_8_outs.add(gdstk.Reference(via_12, (18.23,23.965)))
c_3bit_to_8_outs.add(gdstk.Reference(nand_3in, (0.355,16.62)))
c_3bit_to_8_outs.add(gdstk.Reference(via_11, (12.12,23.97)))
c_3bit_to_8_outs.add(gdstk.Reference(inverter, (8.705,16.62)))
c_3bit_to_8_outs.add(gdstk.Reference(inverter, (7.345,16.62)))
c_3bit_to_8_outs.add(gdstk.Reference(nand_3in, (3.755,16.62)))
c_3bit_to_8_outs.add(gdstk.Reference(nand_3in, (0.355,20.63), x_reflection=True))
c_3bit_to_8_outs.add(gdstk.Reference(via_11, (12.12,13.28), x_reflection=True))
c_3bit_to_8_outs.add(gdstk.Reference(inverter, (8.705,20.63), x_reflection=True))
c_3bit_to_8_outs.add(gdstk.Reference(inverter, (7.345,20.63), x_reflection=True))
c_3bit_to_8_outs.add(gdstk.Reference(nand_3in, (3.755,20.63), x_reflection=True))
c_3bit_to_8_outs.add(gdstk.Reference(via_15, (13.12,25.61)))
c_3bit_to_8_outs.add(gdstk.Reference(via_15, (13.12,26.435)))
c_3bit_to_8_outs.add(gdstk.Reference(via_15, (13.12,11.64), x_reflection=True))
c_3bit_to_8_outs.add(gdstk.Reference(via_15, (13.12,10.815), x_reflection=True))
c_3bit_to_8_outs.add(gdstk.Reference(via_12, (18.23,15.745)))
c_3bit_to_8_outs.add(gdstk.Reference(nand_3in, (0.355,8.4)))
c_3bit_to_8_outs.add(gdstk.Reference(via_11, (12.12,15.75)))
c_3bit_to_8_outs.add(gdstk.Reference(inverter, (8.705,8.4)))
c_3bit_to_8_outs.add(gdstk.Reference(inverter, (7.345,8.4)))
c_3bit_to_8_outs.add(gdstk.Reference(nand_3in, (3.755,8.4)))
c_3bit_to_8_outs.add(gdstk.Reference(via_15, (13.12,17.39)))
c_3bit_to_8_outs.add(gdstk.Reference(via_15, (13.12,18.215)))
c_3bit_to_8_outs.add(gdstk.Reference(inverter, (-1.16,28.85), x_reflection=True))
c_3bit_to_8_outs.add(gdstk.Reference(inverter, (-1.16,8.4)))
c_3bit_to_8_outs.add(gdstk.Reference(inverter, (-1.16,16.62)))
c_3bit_to_8_outs.add(gdstk.Reference(via_12, (8.975,23.97), rotation=pi))
c_3bit_to_8_outs.add(gdstk.Reference(via_12, (9.535,25.615), rotation=pi))
c_3bit_to_8_outs.add(gdstk.Reference(via_12, (9.535,25.615), rotation=pi))
c_3bit_to_8_outs.add(gdstk.Reference(via_12, (8.975,23.97), rotation=pi))
c_3bit_to_8_outs.add(gdstk.Reference(via_12, (8.975,21.5), rotation=pi))
c_3bit_to_8_outs.add(gdstk.Reference(via_12, (9.535,19.86), rotation=pi))
c_3bit_to_8_outs.add(gdstk.Reference(via_12, (8.975,15.75), rotation=pi))
c_3bit_to_8_outs.add(gdstk.Reference(via_12, (9.535,17.395), rotation=pi))
c_3bit_to_8_outs.add(gdstk.Reference(via_12, (9.535,17.395), rotation=pi))
c_3bit_to_8_outs.add(gdstk.Reference(via_12, (8.975,15.75), rotation=pi))
c_3bit_to_8_outs.add(gdstk.Reference(via_17, (7.3,24.38)))
c_3bit_to_8_outs.add(gdstk.Reference(via_16, (5,10.15), rotation=3*pi/2))
c_3bit_to_8_outs.add(gdstk.Reference(via_16, (5.41,10.72), rotation=3*pi/2))
c_3bit_to_8_outs.add(gdstk.Reference(via_16, (5.82,11.31), rotation=3*pi/2))
c_3bit_to_8_outs.add(gdstk.Reference(via_19, (5,26.015), rotation=3*pi/2))
c_3bit_to_8_outs.add(gdstk.Reference(via_17, (6.23,24.42), rotation=3*pi/2))
c_3bit_to_8_outs.add(gdstk.Reference(via_16, (5.41,19.86), rotation=3*pi/2))
c_3bit_to_8_outs.add(gdstk.Reference(via_18, (6.64,20.93), rotation=3*pi/2))
c_3bit_to_8_outs.add(gdstk.Reference(via_18, (6.89,25.2)))
c_3bit_to_8_outs.add(gdstk.Reference(via_16, (7.05,21.34), rotation=3*pi/2))
c_3bit_to_8_outs.add(gdstk.Reference(via_20, (7.755,21.5)))
c_3bit_to_8_outs.add(gdstk.Reference(via_12, (6.23,21.5), rotation=3*pi/2))
c_3bit_to_8_outs.add(gdstk.Reference(via_21, (6.23,21.5), rotation=3*pi/2))
c_3bit_to_8_outs.add(gdstk.Reference(via_17, (5,18.635), rotation=3*pi/2))
c_3bit_to_8_outs.add(gdstk.Reference(via_18, (7.3,16.57), rotation=pi))
c_3bit_to_8_outs.add(gdstk.Reference(via_18, (5.82,16.43), rotation=3*pi/2))
c_3bit_to_8_outs.add(gdstk.Reference(via_16, (6.64,16.73), rotation=3*pi/2))
c_3bit_to_8_outs.add(gdstk.Reference(via_20, (7.755,16.16)))
c_3bit_to_8_outs.add(gdstk.Reference(via_18, (5.82,17.555), rotation=3*pi/2))
c_3bit_to_8_outs.add(gdstk.Reference(via_12, (5.82,16.43), rotation=3*pi/2))
c_3bit_to_8_outs.add(gdstk.Reference(via_16, (6.23,15.5), rotation=3*pi/2))
c_3bit_to_8_outs.add(gdstk.Label('c0', (5,10.165), layer=10, texttype=25))
c_3bit_to_8_outs.add(gdstk.Label('c1', (5,10.81), layer=10, texttype=25))
c_3bit_to_8_outs.add(gdstk.Label('c2', (5,11.38), layer=10, texttype=25))
c_3bit_to_8_outs.add(gdstk.Label('c0_n', (6.23,24.42), layer=10, texttype=25))
c_3bit_to_8_outs.add(gdstk.Label('c1_n', (6.64,20.93), layer=10, texttype=25))

lib.write_gds('3bit_to_8_outs.gds')
